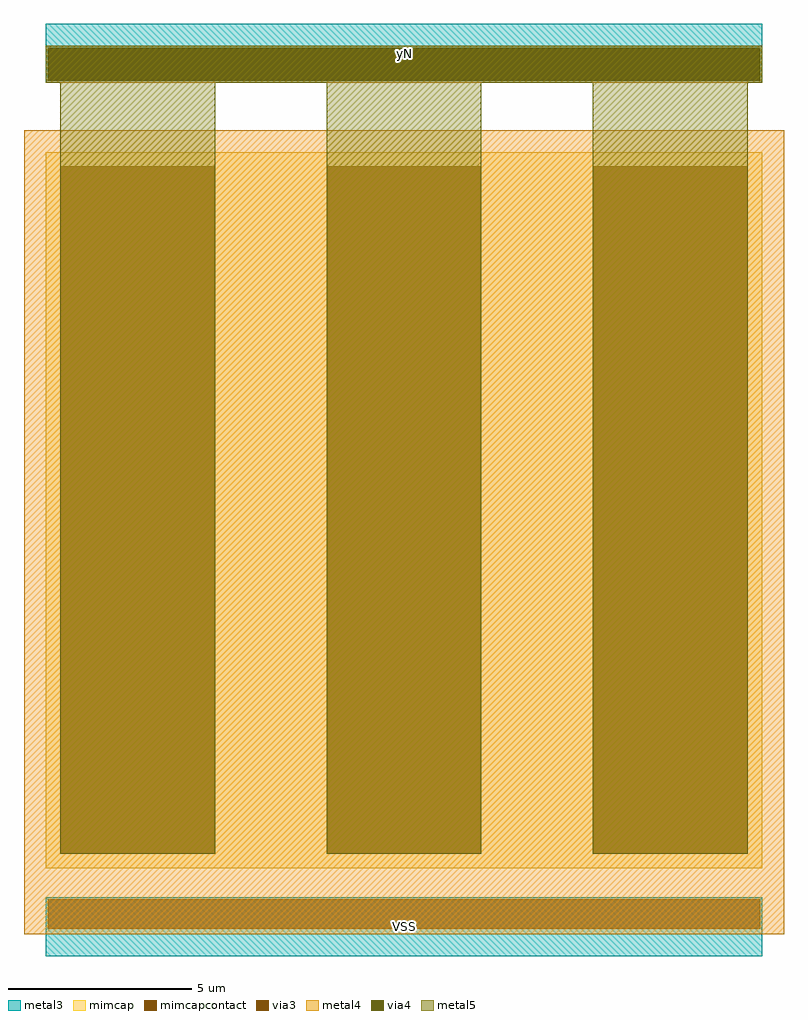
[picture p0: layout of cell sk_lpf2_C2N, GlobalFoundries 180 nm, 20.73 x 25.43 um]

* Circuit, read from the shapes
.subckt sk_lpf2_C2N yN VSS
XC1 yN VSS cap_mim_2f0fF c_width=19.53u c_length=19.53u
.ends

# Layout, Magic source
magic
tech gf180mcuD
magscale 1 10
<< metal3 >>
rect 0 -340 3906 -160
rect 0 4286 3906 4486
rect 0 4286 3906 4606
rect 0 4286 3906 4606
rect 0 -480 3906 -160
rect 0 -480 3906 -160
<< metal4 >>
rect -120 -360 4026 4026
rect 0 -340 3906 -160
rect 0 4286 3906 4486
rect 0 4286 3906 4486
<< mimcap >>
rect 0 0 3906 3906
<< metal5 >>
rect 78 78 922 4386
rect 1531 78 2375 4386
rect 2984 78 3828 4386
rect 0 4286 3906 4486
rect 0 4286 3906 4486
<< via3 >>
rect 10 -330 3896 -170
rect 10 4296 3896 4476
<< via4 >>
rect 10 4296 3896 4476
<< mimcapcontact >>
rect 78 78 922 3828
rect 1531 78 2375 3828
rect 2984 78 3828 3828
<< labels >>
flabel metal3 s 0 4286 3906 4606 0 FreeSans 80 0 0 0 yN
port 1 nsew signal bidirectional
flabel metal3 s 0 -480 3906 -160 0 FreeSans 80 0 0 0 VSS
port 2 nsew signal bidirectional
<< end >>
